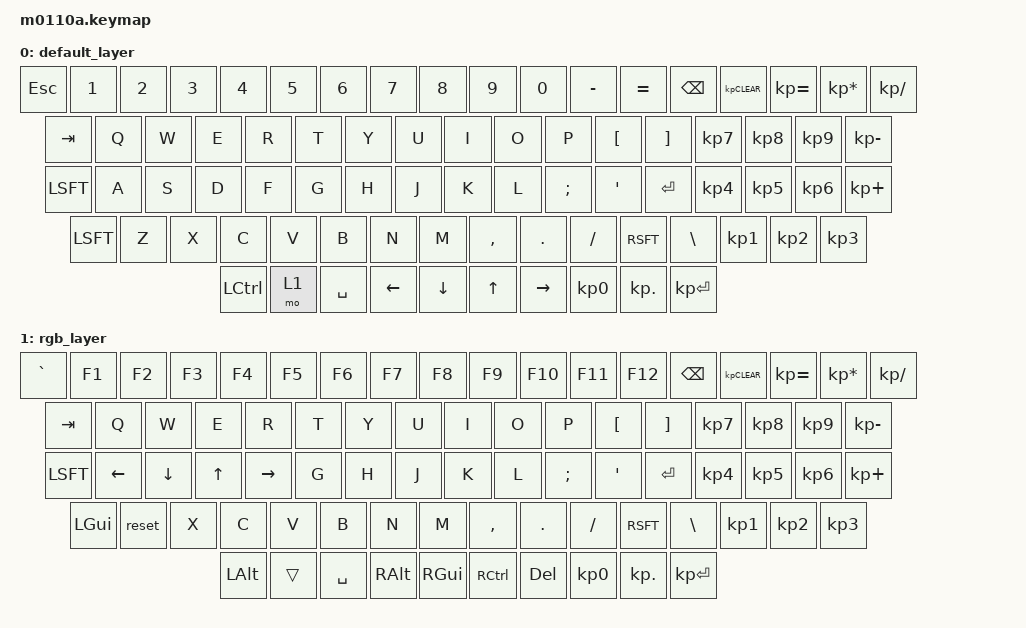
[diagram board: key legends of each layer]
#include <behaviors.dtsi>
#include <dt-bindings/zmk/keys.h>

/ {
	keymap {
		compatible = "zmk,keymap";
		
		default_layer {
			bindings = <
	&kp ESC &kp NUM_1 &kp NUM_2 &kp NUM_3 &kp NUM_4 &kp NUM_5 &kp NUM_6 &kp NUM_7 &kp NUM_8 &kp NUM_9 &kp NUM_0 &kp MINUS &kp EQL  &kp BKSP          &kp KP_CLEAR &kp KP_EQUAL &kp KP_MULTIPLY &kp KP_DIVIDE 
	&kp TAB  &kp   Q   &kp   W   &kp   E   &kp   R   &kp   T   &kp   Y   &kp   U   &kp   I   &kp   O   &kp   P   &kp LBKT &kp RBKT 					 &kp KP_N7 &kp KP_N8 &kp KP_N9 &kp KP_MINUS
	&kp LSFT  &kp   A   &kp   S   &kp   D   &kp   F   &kp   G   &kp   H   &kp   J   &kp   K   &kp   L   &kp  SCLN  &kp  QUOT     &kp RET			 &kp KP_N4 &kp KP_N5 &kp KP_N6 &kp KP_PLUS
	&kp LSFT   &kp   Z   &kp   X   &kp   C   &kp   V   &kp   B   &kp   N   &kp   M   &kp   COMMA   &kp   DOT   &kp FSLH &kp RSFT &kp BSLH	         &kp KP_N1 &kp KP_N2 &kp KP_N3
	&kp LCTL &mo 1                                           &kp SPC                                &kp LEFT  &kp DOWN  &kp UP  &kp RIGHT			 &kp KP_N0 &kp KP_DOT &kp KP_ENTER
			>;
		};

		rgb_layer {
			bindings = <
	&kp GRAVE &kp F1 &kp F2 &kp F3 &kp F4 &kp F5 &kp F6 &kp F7 &kp F8 &kp F9 &kp F10 &kp F11 &kp F12  &kp BKSP         						 	      &kp KP_CLEAR &kp KP_EQUAL &kp KP_MULTIPLY &kp KP_DIVIDE
	&kp TAB  &kp   Q   &kp   W   &kp   E   &kp   R   &kp   T   &kp   Y   &kp   U   &kp   I   &kp O  &kp   P   &kp LBKT &kp RBKT 			          &kp KP_N7 &kp KP_N8 &kp KP_N9 &kp KP_MINUS 
	&kp LSFT  &kp LEFT &kp DOWN &kp UP &kp RIGHT &kp   G   &kp   H   &kp   J   &kp   K   &kp   L   &kp  SCLN  &kp  QUOT     &kp RET		              &kp KP_N4 &kp KP_N5 &kp KP_N6 &kp KP_PLUS
	&kp LGUI   &reset    &kp   X   &kp   C   &kp   V   &kp   B   &kp   N   &kp   M   &kp   COMMA   &kp   DOT   &kp FSLH &kp RSFT &kp BSLH	          &kp KP_N1 &kp KP_N2 &kp KP_N3
	&kp LALT &trans                                          &kp SPC                                &kp RALT  &kp RGUI  &kp RCTL  &kp DEL	       	  &kp KP_N0 &kp KP_DOT &kp KP_ENTER
			>;  
		};
	};
};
